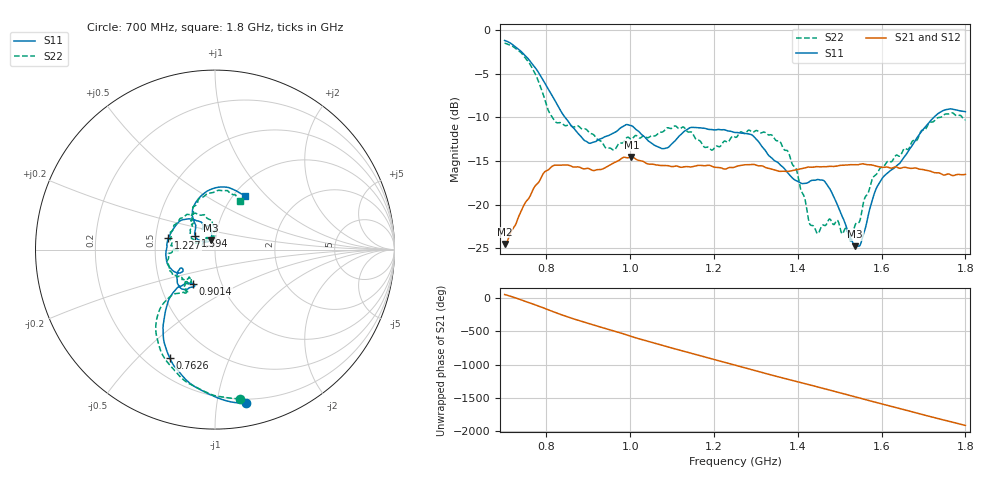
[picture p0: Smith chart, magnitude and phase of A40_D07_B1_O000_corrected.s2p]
! Created with skrf 1.9.0 (http://scikit-rf.org).
# Hz S RI R 50.0
!freq ReS11 ImS11 ReS21 ImS21 ReS12 ImS12 ReS22 ImS22
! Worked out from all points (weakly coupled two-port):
!   1601 points, 700 MHz to 1.8 GHz, reference 50 ohm
!   highest |S21| = -14.54 dB at 1.002 GHz (marker M1); lowest = -24.5 dB at 700.7 MHz (marker M2)
!   lowest |S11| = -24.8 dB at 1.537 GHz (marker M3), VSWR 1.12, Z = 47.4 + j4.99 ohm
!   |S11| at or under -10 dB: 844.6 MHz to 1.725 GHz (880 MHz wide, 68.5 % of centre)
!   |S22| runs from -24.2 to -1.5 dB; largest |S21 - S12| = 0.0036
!   S11 on the Smith chart (normalised r, x): 700 MHz: 0.17, -1.21; 762.6 MHz: 0.30, -0.63; 901.4 MHz: 0.73, -0.29; 1.227 GHz: 0.58, +0.08; 1.594 GHz: 0.79, +0.12; 1.8 GHz: 1.12, +0.76
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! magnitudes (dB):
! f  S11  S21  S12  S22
! 700 MHz  -1.2  -24.5  -24.3  -1.5
! 700.7 MHz  -1.2  -24.5  -24.2  -1.5
! 762.6 MHz  -3.7  -18.8  -18.8  -4.1
! 818.9 MHz  -8.0  -15.5  -15.6  -10.4
! 883.6 MHz  -12.3  -15.8  -15.7  -11.3
! 901.4 MHz  -12.9  -15.9  -15.9  -11.7
! 958.5 MHz  -11.8  -15.3  -15.3  -13.7
! 1.002 GHz  -10.9  -14.5  -14.6  -12.5
! 1.067 GHz  -13.4  -15.5  -15.4  -11.8
! 1.227 GHz  -11.4  -15.9  -15.9  -12.7
! 1.25 GHz  -11.7  -15.7  -15.6  -12.3
! 1.357 GHz  -15.4  -16.2  -16.1  -12.8
! 1.396 GHz  -17.2  -16.0  -16.0  -15.9
! 1.434 GHz  -17.2  -15.7  -15.7  -22.4
! 1.471 GHz  -17.8  -15.6  -15.6  -21.9
! 1.526 GHz  -23.8  -15.4  -15.4  -24.2
! 1.537 GHz  -24.8  -15.4  -15.4  -22.3
! 1.551 GHz  -24.3  -15.3  -15.4  -21.2
! 1.594 GHz  -17.6  -15.7  -15.6  -16.0
! 1.617 GHz  -16.3  -15.7  -15.7  -15.0
! 1.733 GHz  -9.6  -16.3  -16.4  -10.1
! 1.8 GHz  -9.3  -16.5  -16.5  -10.3
